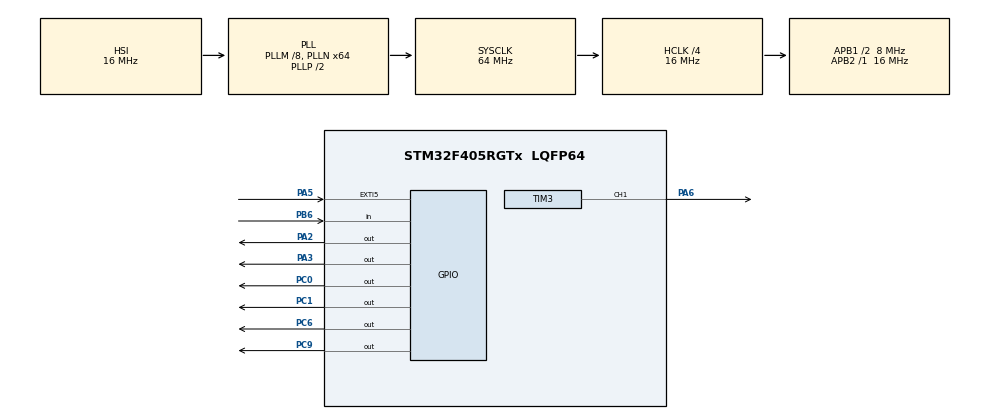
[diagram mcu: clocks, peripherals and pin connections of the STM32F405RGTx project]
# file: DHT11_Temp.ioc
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Mcu.Family=STM32F4
Mcu.Name=STM32F405RGTx
Mcu.Package=LQFP64
NVIC.PriorityGroup=NVIC_PRIORITYGROUP_4
NVIC.TIM3_IRQn=true\:0\:0\:false\:false\:true\:true\:true\:true
PA2.Signal=GPIO_Output
PA3.Signal=GPIO_Output
PA5.Signal=GPXTI5
PA6.Signal=S_TIM3_CH1
PB6.Signal=GPIO_Input
PC0.Signal=GPIO_Output
PC1.Signal=GPIO_Output
PC6.Signal=GPIO_Output
PC9.Signal=GPIO_Output
ProjectManager.HeapSize=0x200
ProjectManager.StackSize=0x400
ProjectManager.TargetToolchain=STM32CubeIDE
RCC.48MHZClocksFreq_Value=32000000
RCC.AHBCLKDivider=RCC_SYSCLK_DIV4
RCC.AHBFreq_Value=16000000
RCC.APB1CLKDivider=RCC_HCLK_DIV2
RCC.APB1Freq_Value=8000000
RCC.APB1TimFreq_Value=16000000
RCC.APB2Freq_Value=16000000
RCC.APB2TimFreq_Value=16000000
RCC.CortexFreq_Value=16000000
RCC.HCLKFreq_Value=16000000
RCC.HSE_VALUE=25000000
RCC.HSI_VALUE=16000000
RCC.LSE_VALUE=32768
RCC.PLLM=8
RCC.PLLN=64
RCC.SYSCLKFreq_VALUE=64000000
RCC.SYSCLKSource=RCC_SYSCLKSOURCE_PLLCLK
RCC.VCOOutputFreq_Value=128000000
SH.S_TIM3_CH1.0=TIM3_CH1,PWM Generation1 CH1
TIM2.Period=65535
TIM2.Prescaler=15
TIM3.Channel-PWM\ Generation1\ CH1=TIM_CHANNEL_1
TIM3.OCFastMode_PWM-PWM\ Generation1\ CH1=TIM_OCFAST_ENABLE
TIM3.Period=799
TIM3.Prescaler=1
VP_TIM2_VS_ClockSourceINT.Mode=Internal
VP_TIM3_VS_ClockSourceINT.Mode=Internal
board=custom

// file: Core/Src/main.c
/* USER CODE BEGIN Header */
/**
 ******************************************************************************
 * @file           : main.c
 * @brief          : Main program body
 ******************************************************************************
 * @attention
 *
 * Copyright (c) 2025 STMicroelectronics.
 * All rights reserved.
 *
 * This software is licensed under terms that can be found in the LICENSE file
 * in the root directory of this software component.
 * If no LICENSE file comes with this software, it is provided AS-IS.
 *
 ******************************************************************************
 */
/* USER CODE END Header */
#include "main.h"

/* USER CODE BEGIN Includes */
#include "stdio.h"
#include "dht11.h"
#include "stdint.h"
#include "string.h"
#include "math.h"
#include "lcd.h"
/* USER CODE END Includes */

TIM_HandleTypeDef htim2;
TIM_HandleTypeDef htim3;

/* USER CODE BEGIN PV */

uint8_t DHT11_Read(DHT11_Data *data);
DHT11_Data dht;
uint8_t pir_status = 0;
volatile uint8_t vibrationDetected = 0;

uint8_t flag = 0;
/* USER CODE END PV */

void SystemClock_Config(void);
static void MX_GPIO_Init(void);
static void MX_TIM2_Init(void);
static void MX_TIM3_Init(void);
/* USER CODE BEGIN PFP */
void speed_monitoring(void);
void safety_monitoring(void);

/* USER CODE END PFP */

int main(void)
{

  /* MCU Configuration--------------------------------------------------------*/

  /* Reset of all peripherals, Initializes the Flash interface and the Systick. */
  HAL_Init();

  /* Configure the system clock */
  SystemClock_Config();

  /* Initialize all configured peripherals */
  MX_GPIO_Init();
  MX_TIM2_Init();
  MX_TIM3_Init();
  /* USER CODE BEGIN 2 */
	//DHT11_Init();
	DWT_Init();
	HAL_TIM_Base_Start(&htim2);
	LcdInit();
	motor_config();

	HAL_NVIC_SetPriority(EXTI9_5_IRQn, 0, 0);
	HAL_NVIC_EnableIRQ(EXTI9_5_IRQn);
  /* USER CODE END 2 */

  /* Infinite loop */
  /* USER CODE BEGIN WHILE */
	while (1) {

		speed_monitoring();
		safety_monitoring();
		HAL_Delay(1000);

    /* USER CODE END WHILE */

	}
}

void SystemClock_Config(void)
{
  RCC_OscInitTypeDef RCC_OscInitStruct = {0};
  RCC_ClkInitTypeDef RCC_ClkInitStruct = {0};

  /** Configure the main internal regulator output voltage
  */
  __HAL_RCC_PWR_CLK_ENABLE();
  __HAL_PWR_VOLTAGESCALING_CONFIG(PWR_REGULATOR_VOLTAGE_SCALE1);

  /** Initializes the RCC Oscillators according to the specified parameters
  * in the RCC_OscInitTypeDef structure.
  */
  RCC_OscInitStruct.OscillatorType = RCC_OSCILLATORTYPE_HSI;
  RCC_OscInitStruct.HSIState = RCC_HSI_ON;
  RCC_OscInitStruct.HSICalibrationValue = RCC_HSICALIBRATION_DEFAULT;
  RCC_OscInitStruct.PLL.PLLState = RCC_PLL_ON;
  RCC_OscInitStruct.PLL.PLLSource = RCC_PLLSOURCE_HSI;
  RCC_OscInitStruct.PLL.PLLM = 8;
  RCC_OscInitStruct.PLL.PLLN = 64;
  RCC_OscInitStruct.PLL.PLLP = RCC_PLLP_DIV2;
  RCC_OscInitStruct.PLL.PLLQ = 4;
  if (HAL_RCC_OscConfig(&RCC_OscInitStruct) != HAL_OK)
  {
    Error_Handler();
  }

  /** Initializes the CPU, AHB and APB buses clocks
  */
  RCC_ClkInitStruct.ClockType = RCC_CLOCKTYPE_HCLK|RCC_CLOCKTYPE_SYSCLK
                              |RCC_CLOCKTYPE_PCLK1|RCC_CLOCKTYPE_PCLK2;
  RCC_ClkInitStruct.SYSCLKSource = RCC_SYSCLKSOURCE_PLLCLK;
  RCC_ClkInitStruct.AHBCLKDivider = RCC_SYSCLK_DIV4;
  RCC_ClkInitStruct.APB1CLKDivider = RCC_HCLK_DIV2;
  RCC_ClkInitStruct.APB2CLKDivider = RCC_HCLK_DIV1;

  if (HAL_RCC_ClockConfig(&RCC_ClkInitStruct, FLASH_LATENCY_0) != HAL_OK)
  {
    Error_Handler();
  }
}

static void MX_TIM2_Init(void)
{

  TIM_ClockConfigTypeDef sClockSourceConfig = {0};
  TIM_MasterConfigTypeDef sMasterConfig = {0};

  htim2.Instance = TIM2;
  htim2.Init.Prescaler = 15;
  htim2.Init.CounterMode = TIM_COUNTERMODE_UP;
  htim2.Init.Period = 65535;
  htim2.Init.ClockDivision = TIM_CLOCKDIVISION_DIV1;
  htim2.Init.AutoReloadPreload = TIM_AUTORELOAD_PRELOAD_DISABLE;
  if (HAL_TIM_Base_Init(&htim2) != HAL_OK)
  {
    Error_Handler();
  }
  sClockSourceConfig.ClockSource = TIM_CLOCKSOURCE_INTERNAL;
  if (HAL_TIM_ConfigClockSource(&htim2, &sClockSourceConfig) != HAL_OK)
  {
    Error_Handler();
  }
  sMasterConfig.MasterOutputTrigger = TIM_TRGO_RESET;
  sMasterConfig.MasterSlaveMode = TIM_MASTERSLAVEMODE_DISABLE;
  if (HAL_TIMEx_MasterConfigSynchronization(&htim2, &sMasterConfig) != HAL_OK)
  {
    Error_Handler();
  }

}

static void MX_TIM3_Init(void)
{

  TIM_ClockConfigTypeDef sClockSourceConfig = {0};
  TIM_MasterConfigTypeDef sMasterConfig = {0};
  TIM_OC_InitTypeDef sConfigOC = {0};

  htim3.Instance = TIM3;
  htim3.Init.Prescaler = 1;
  htim3.Init.CounterMode = TIM_COUNTERMODE_UP;
  htim3.Init.Period = 799;
  htim3.Init.ClockDivision = TIM_CLOCKDIVISION_DIV1;
  htim3.Init.AutoReloadPreload = TIM_AUTORELOAD_PRELOAD_DISABLE;
  if (HAL_TIM_Base_Init(&htim3) != HAL_OK)
  {
    Error_Handler();
  }
  sClockSourceConfig.ClockSource = TIM_CLOCKSOURCE_INTERNAL;
  if (HAL_TIM_ConfigClockSource(&htim3, &sClockSourceConfig) != HAL_OK)
  {
    Error_Handler();
  }
  if (HAL_TIM_PWM_Init(&htim3) != HAL_OK)
  {
    Error_Handler();
  }
  sMasterConfig.MasterOutputTrigger = TIM_TRGO_RESET;
  sMasterConfig.MasterSlaveMode = TIM_MASTERSLAVEMODE_DISABLE;
  if (HAL_TIMEx_MasterConfigSynchronization(&htim3, &sMasterConfig) != HAL_OK)
  {
    Error_Handler();
  }
  sConfigOC.OCMode = TIM_OCMODE_PWM1;
  sConfigOC.Pulse = 0;
  sConfigOC.OCPolarity = TIM_OCPOLARITY_HIGH;
  sConfigOC.OCFastMode = TIM_OCFAST_ENABLE;
  if (HAL_TIM_PWM_ConfigChannel(&htim3, &sConfigOC, TIM_CHANNEL_1) != HAL_OK)
  {
    Error_Handler();
  }
  HAL_TIM_MspPostInit(&htim3);

}

static void MX_GPIO_Init(void)
{
  GPIO_InitTypeDef GPIO_InitStruct = {0};

  /* GPIO Ports Clock Enable */
  __HAL_RCC_GPIOC_CLK_ENABLE();
  __HAL_RCC_GPIOA_CLK_ENABLE();
  __HAL_RCC_GPIOB_CLK_ENABLE();

  /*Configure GPIO pin Output Level */
  HAL_GPIO_WritePin(GPIOC, GPIO_PIN_0|GPIO_PIN_1|GPIO_PIN_6|GPIO_PIN_9, GPIO_PIN_RESET);

  /*Configure GPIO pin Output Level */
  HAL_GPIO_WritePin(GPIOA, GPIO_PIN_2|GPIO_PIN_3, GPIO_PIN_RESET);

  /*Configure GPIO pins : PC0 PC1 PC6 PC9 */
  GPIO_InitStruct.Pin = GPIO_PIN_0|GPIO_PIN_1|GPIO_PIN_6|GPIO_PIN_9;
  GPIO_InitStruct.Mode = GPIO_MODE_OUTPUT_PP;
  GPIO_InitStruct.Pull = GPIO_NOPULL;
  GPIO_InitStruct.Speed = GPIO_SPEED_FREQ_LOW;
  HAL_GPIO_Init(GPIOC, &GPIO_InitStruct);

  /*Configure GPIO pins : PA2 PA3 */
  GPIO_InitStruct.Pin = GPIO_PIN_2|GPIO_PIN_3;
  GPIO_InitStruct.Mode = GPIO_MODE_OUTPUT_PP;
  GPIO_InitStruct.Pull = GPIO_NOPULL;
  GPIO_InitStruct.Speed = GPIO_SPEED_FREQ_LOW;
  HAL_GPIO_Init(GPIOA, &GPIO_InitStruct);

  /*Configure GPIO pin : PA5 */
  GPIO_InitStruct.Pin = GPIO_PIN_5;
  GPIO_InitStruct.Mode = GPIO_MODE_IT_RISING;
  GPIO_InitStruct.Pull = GPIO_NOPULL;
  HAL_GPIO_Init(GPIOA, &GPIO_InitStruct);

  /*Configure GPIO pin : PB6 */
  GPIO_InitStruct.Pin = GPIO_PIN_6;
  GPIO_InitStruct.Mode = GPIO_MODE_INPUT;
  GPIO_InitStruct.Pull = GPIO_NOPULL;
  HAL_GPIO_Init(GPIOB, &GPIO_InitStruct);

}

/* USER CODE BEGIN 4 */

void motor_config(void) {
	HAL_GPIO_WritePin(GPIOA, GPIO_PIN_3, GPIO_PIN_SET); //STBY
	HAL_GPIO_WritePin(GPIOC, GPIO_PIN_0, GPIO_PIN_SET); //AIN1
	HAL_GPIO_WritePin(GPIOC, GPIO_PIN_1, GPIO_PIN_RESET); //AIN2

	HAL_TIM_PWM_Start(&htim3, TIM_CHANNEL_1);

	__HAL_TIM_SET_COMPARE(&htim3, TIM_CHANNEL_1, 300);
}

void speed_monitoring(void) {

	if (DHT11_GetData(GPIOA, GPIO_PIN_2, &dht)) {
		// Use dht.Temperature and dht.Humidity
		lprint(0x80, "Tem:");
		aprint(0x86, dht.Temperature);
		lprint(0xC0, "hum:");
		aprint(0xC6, dht.Humidity);

		if (dht.Temperature >= 27 && dht.Humidity >= 73 && flag != 1) {
			lprint(0x80, "Temperature exceeded");
			// Gradual motor slowdown using PWM
			uint16_t pwm_values[] = { 600, 400, 200, 0 };
			for (int i = 0; i < 4; i++) {
				__HAL_TIM_SET_COMPARE(&htim3, TIM_CHANNEL_1, pwm_values[i]);
				HAL_Delay(2000);
			}
			flag = 1;
		}

		if (vibrationDetected) {
			lprint(0x80, "High Vibration Detected");

			if (flag != 1) {
				// Gradual motor slowdown using PWM
				uint16_t pwm_values[] = { 600, 400, 200, 0 };
				for (int i = 0; i < 4; i++) {
					__HAL_TIM_SET_COMPARE(&htim3, TIM_CHANNEL_1, pwm_values[i]);
					HAL_Delay(2000);
				}
				flag = 1;
			}

			vibrationDetected = 0;
		}

		else if (dht.Temperature <= 26 && dht.Humidity >= 65 && flag == 1
				&& vibrationDetected == 0) {
			flag = 0;
			__HAL_TIM_SET_COMPARE(&htim3, TIM_CHANNEL_1, 300);
			//HAL_Delay(2000);

		}
	}

}

void safety_monitoring(void) {
	pir_status = HAL_GPIO_ReadPin(GPIOB, GPIO_PIN_6);

	if (pir_status) {
		// Motion detected
		lprint(0x80, "Motion Detected");
		HAL_GPIO_WritePin(GPIOC, GPIO_PIN_6, GPIO_PIN_RESET); // LED ON
		//HAL_GPIO_WritePin(GPIOC, GPIO_PIN_9, GPIO_PIN_SET); // BUZZER ON
		lprint(0xC8, "PIR:1");

	} else {
		lprint(0xC8, "PIR:0");
		HAL_GPIO_WritePin(GPIOC, GPIO_PIN_6, GPIO_PIN_SET);   // LED OFF
		//HAL_GPIO_WritePin(GPIOC, GPIO_PIN_9, GPIO_PIN_RESET); // BUZZER OFF
	}

}

void EXTI0_IRQHandler(void) {
	HAL_GPIO_EXTI_IRQHandler(GPIO_PIN_0);
}

void EXTI9_5_IRQHandler(void) {
	HAL_GPIO_EXTI_IRQHandler(GPIO_PIN_5);
}

void HAL_GPIO_EXTI_Callback(uint16_t GPIO_Pin) {
	if (GPIO_Pin == GPIO_PIN_5) {  // PA5
		vibrationDetected = 1;
	}
}

/* USER CODE END 4 */

void Error_Handler(void)
{
	__disable_irq();
	while (1) {
	}
}
